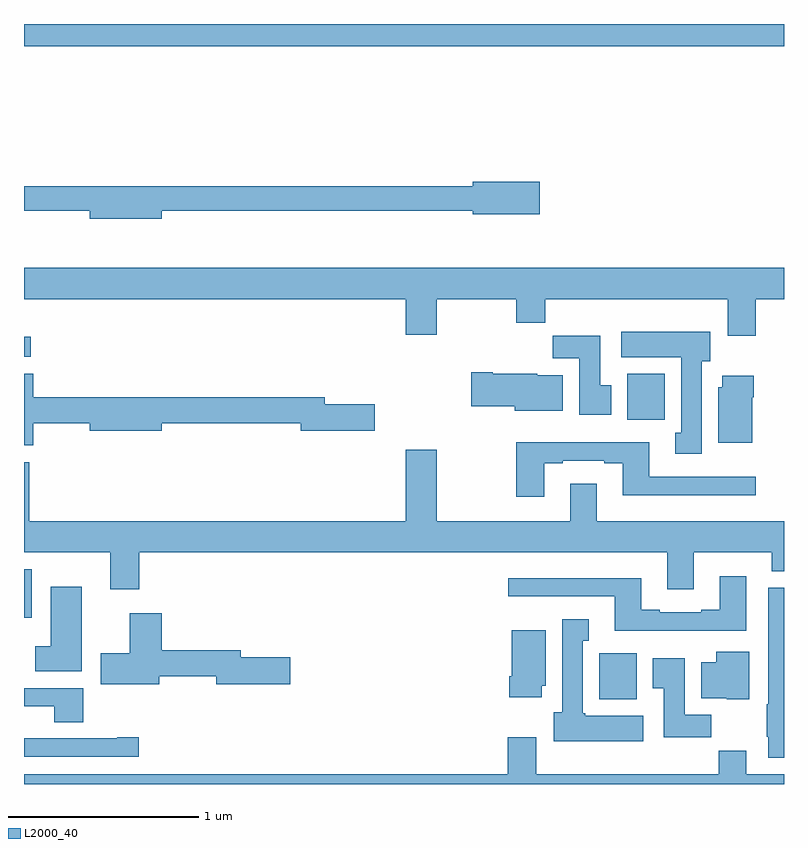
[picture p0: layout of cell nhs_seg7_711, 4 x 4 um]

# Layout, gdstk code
import gdstk
lib = gdstk.Library(unit=1e-6, precision=1e-09)
def R(c, l, rs):  # rectangles x0, y0, x1, y1
    for r in rs: c.add(gdstk.rectangle(r[:2], r[2:], *l))
def P(c, l, *ps):  # polygons
    for p in ps: c.add(gdstk.Polygon(p, *l))
L2000_40 = (2000, 40)

nhs_seg7_711 = lib.new_cell('nhs_seg7_711')
R(nhs_seg7_711, L2000_40, [(166.028,1062.446,166.225,1062.688), (163,1062.875,163.042,1063.129), (166.175,1063.916,166.372,1064.158), (163,1064.249,163.036,1064.353), (163,1065.884,167,1066)])
P(nhs_seg7_711, L2000_40, [(163.726,1065.018),(165.362,1065.018),(165.362,1064.999),(165.715,1064.999),(165.715,1065.17),(165.362,1065.17),(165.362,1065.146),(163,1065.146),(163,1065.018),(163.346,1065.018),(163.346,1064.975),(163.726,1064.975)],
  [(166.851,1064.552),(167,1064.552),(167,1064.716),(163,1064.716),(163,1064.552),(165.008,1064.552),(165.008,1064.364),(165.172,1064.364),(165.172,1064.552),(165.592,1064.552),(165.592,1064.428),(165.743,1064.428),(165.743,1064.552),(166.703,1064.552),(166.703,1064.358),(166.851,1064.358)],
  [(166.567,1064.226),(166.612,1064.226),(166.612,1064.38),(166.143,1064.38),(166.143,1064.246),(166.46,1064.246),(166.46,1063.85),(166.427,1063.85),(166.427,1063.737),(166.567,1063.737)],
  [(166.09,1064.1),(166.033,1064.1),(166.033,1064.359),(165.784,1064.359),(165.784,1064.24),(165.923,1064.24),(165.923,1063.944),(166.09,1063.944)],
  [(165.835,1064.152),(165.702,1064.152),(165.702,1064.158),(165.466,1064.158),(165.466,1064.166),(165.354,1064.166),(165.354,1063.988),(165.584,1063.988),(165.584,1063.964),(165.835,1063.964)],
  [(163.048,1063.9),(163.346,1063.9),(163.346,1063.858),(163.726,1063.858),(163.726,1063.9),(164.456,1063.9),(164.456,1063.858),(164.845,1063.858),(164.845,1064),(164.584,1064),(164.584,1064.036),(163.048,1064.036),(163.048,1064.158),(163,1064.158),(163,1063.782),(163.048,1063.782)],
  [(166.834,1064.036),(166.842,1064.036),(166.842,1064.149),(166.676,1064.149),(166.676,1064.088),(166.655,1064.088),(166.655,1063.796),(166.834,1063.796)],
  [(165.739,1063.689),(165.835,1063.689),(165.835,1063.701),(166.055,1063.701),(166.055,1063.689),(166.151,1063.689),(166.151,1063.52),(166.852,1063.52),(166.852,1063.617),(166.291,1063.617),(166.291,1063.798),(165.592,1063.798),(165.592,1063.512),(165.739,1063.512)],
  [(163.607,1063.22),(166.385,1063.22),(166.385,1063.026),(166.525,1063.026),(166.525,1063.22),(166.936,1063.22),(166.936,1063.121),(167,1063.121),(167,1063.384),(166.015,1063.384),(166.015,1063.579),(165.875,1063.579),(165.875,1063.384),(165.172,1063.384),(165.172,1063.759),(165.008,1063.759),(165.008,1063.384),(163.028,1063.384),(163.028,1063.693),(163,1063.693),(163,1063.22),(163.454,1063.22),(163.454,1063.026),(163.607,1063.026)],
  [(166.801,1063.093),(166.661,1063.093),(166.661,1062.916),(166.565,1062.916),(166.565,1062.903),(166.345,1062.903),(166.345,1062.916),(166.249,1062.916),(166.249,1063.084),(165.549,1063.084),(165.549,1062.987),(166.109,1062.987),(166.109,1062.806),(166.801,1062.806)],
  [(163.303,1063.039),(163.142,1063.039),(163.142,1062.724),(163.058,1062.724),(163.058,1062.593),(163.303,1062.593)],
  [(167,1063.034),(166.916,1063.034),(166.916,1062.42),(166.909,1062.42),(166.909,1062.25),(166.916,1062.25),(166.916,1062.138),(167,1062.138)],
  [(163.711,1062.568),(164.012,1062.568),(164.012,1062.526),(164.401,1062.526),(164.401,1062.668),(164.14,1062.668),(164.14,1062.704),(163.724,1062.704),(163.724,1062.898),(163.556,1062.898),(163.556,1062.687),(163.404,1062.687),(163.404,1062.524),(163.711,1062.524)],
  [(166.258,1062.358),(165.954,1062.358),(165.954,1062.372),(165.94,1062.372),(165.94,1062.755),(165.973,1062.755),(165.973,1062.868),(165.833,1062.868),(165.833,1062.378),(165.788,1062.378),(165.788,1062.224),(166.258,1062.224)],
  [(165.724,1062.516),(165.745,1062.516),(165.745,1062.808),(165.566,1062.808),(165.566,1062.568),(165.554,1062.568),(165.554,1062.456),(165.724,1062.456)],
  [(166.816,1062.697),(166.643,1062.697),(166.643,1062.64),(166.565,1062.64),(166.565,1062.452),(166.698,1062.452),(166.698,1062.446),(166.816,1062.446)],
  [(166.616,1062.364),(166.477,1062.364),(166.477,1062.661),(166.31,1062.661),(166.31,1062.505),(166.367,1062.505),(166.367,1062.246),(166.616,1062.246)],
  [(163.313,1062.504),(163,1062.504),(163,1062.408),(163.16,1062.408),(163.16,1062.325),(163.313,1062.325)],
  [(167,1062.052),(166.801,1062.052),(166.801,1062.176),(166.657,1062.176),(166.657,1062.052),(165.697,1062.052),(165.697,1062.247),(165.545,1062.247),(165.545,1062.052),(163,1062.052),(163,1062),(167,1062)],
  [(163.603,1062.245),(163.49,1062.245),(163.49,1062.24),(163,1062.24),(163,1062.144),(163.603,1062.144)])

lib.write_gds('nhs_seg7_711.gds')
